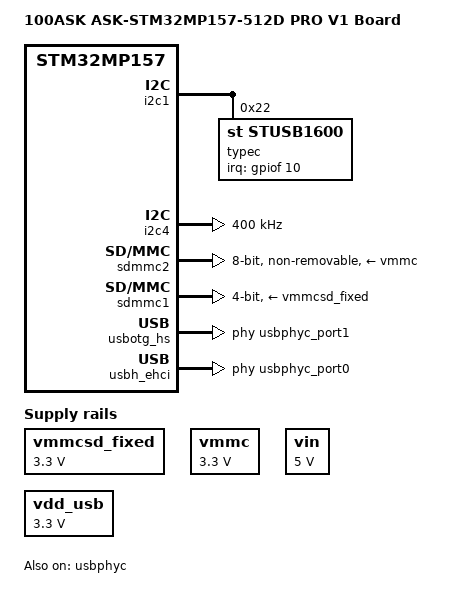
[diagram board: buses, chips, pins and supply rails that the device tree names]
// SPDX-License-Identifier: (GPL-2.0+ OR BSD-3-Clause)
/*
 * Copyright (C) STMicroelectronics 2018 - All Rights Reserved
 * Author: Alexandre Torgue <alexandre.torgue@st.com>.
 */

/dts-v1/;

#include "stm32mp157.dtsi"
#include "stm32mp15xd.dtsi"
#include "stm32mp157-pinctrl.dtsi"
#include "stm32mp15xxac-pinctrl.dtsi"
#include "stm32mp15xx-100ask.dtsi"

/ {
	model = "100ASK ASK-STM32MP157-512D PRO V1 Board";
	compatible = "st,stm32mp157c-100ask-512d-v1", "st,stm32mp157";

	aliases {
		ethernet0 = &ethernet0;
		serial0 = &uart4;
		serial1 = &usart3;
		//serial2 = &uart7;
	};

	chosen {
		stdout-path = "serial0:115200n8";
	};

	reserved-memory {
		gpu_reserved: gpu@da000000 {
			reg = <0xda000000 0x4000000>;
			no-map;
		};

		optee_memory: optee@0xde000000 {
			reg = <0xde000000 0x02000000>;
			no-map;
		};
	};

	wifi_bt_power:wifi_bt_power {
		compatible = "wifibt-rst";
		wifi {
			label = "wifi-rst";
			gpios = <&gpioi 3 GPIO_ACTIVE_HIGH>;
		};
		bt {
			label = "bt-rst";
			gpios = <&gpioa 15 GPIO_ACTIVE_HIGH>;
		};
		phy {
			label = "phy-rest";
			gpios = <&gpiog 0 GPIO_ACTIVE_HIGH>;
		};
	};	
	usb_phy_tuning: usb-phy-tuning {
		st,hs-dc-level = <2>;
		st,fs-rftime-tuning;
		st,hs-rftime-reduction;
		st,hs-current-trim = <15>;
		st,hs-impedance-trim = <1>;
		st,squelch-level = <3>;
		st,hs-rx-offset = <2>;
		st,no-lsfs-sc;
	};

	vmmcsd_fixed: fixedregulator@0 {
		compatible = "regulator-fixed";
		regulator-name = "vmmcsd_fixed";
		regulator-min-microvolt = <3300000>;
        	regulator-max-microvolt = <3300000>;
		
	};

   	vmmc: fixedregulator@1 {
        	compatible = "regulator-fixed";
        	regulator-name = "vmmc";
        	regulator-min-microvolt = <3300000>;
        	regulator-max-microvolt = <3300000>;
        	startup-delay-us = <70000>;
       		 enable-active-high;  
    	};
	vin: vin {
		compatible = "regulator-fixed";
		regulator-name = "vin";
		regulator-min-microvolt = <5000000>;
		regulator-max-microvolt = <5000000>;
		regulator-always-on;
	};

	regulators {
		compatible = "simple-bus";
            	#address-cells = <1>;
            	#size-cells = <0>;

			vddcore: buck1 {
				regulator-name = "vddcore";
				regulator-min-microvolt = <1200000>;
				regulator-max-microvolt = <1350000>;
				regulator-always-on;
				regulator-initial-mode = <0>;
				regulator-over-current-protection;
			};

			vdd_ddr: buck2 {
				regulator-name = "vdd_ddr";
				regulator-min-microvolt = <1350000>;
				regulator-max-microvolt = <1350000>;
				regulator-always-on;
				regulator-initial-mode = <0>;
				regulator-over-current-protection;
			};

			vdd: buck3 {
				regulator-name = "vdd";
				regulator-min-microvolt = <3300000>;
				regulator-max-microvolt = <3300000>;
				regulator-always-on;
				st,mask-reset;
				regulator-initial-mode = <0>;
				regulator-over-current-protection;
			};

			v3v3: buck4 {
				regulator-name = "v3v3";
				regulator-min-microvolt = <3300000>;
				regulator-max-microvolt = <3300000>;
				regulator-always-on;
				regulator-over-current-protection;
				regulator-initial-mode = <0>;
				
			};

			vdda: ldo1 {
				regulator-name = "v1v8_audio";
				regulator-min-microvolt = <1700000>;
				regulator-max-microvolt = <3300000>;
				regulator-always-on;
				//interrupts = <IT_CURLIM_LDO1 0>;

			};

			v1v8_hdmi: ldo2 {
				regulator-name = "v1v8_hdmi";
				regulator-min-microvolt = <1800000>;
				regulator-max-microvolt = <1800000>;
				regulator-always-on;
				//interrupts = <IT_CURLIM_LDO2 0>;

			};

			vtt_ddr: ldo3 {
				regulator-name = "vtt_ddr";
				regulator-min-microvolt = <500000>;
				regulator-max-microvolt = <750000>;
				regulator-always-on;
				regulator-over-current-protection;
			};


			vdd_sd: ldo5 {
				regulator-name = "vdd_sd";
				regulator-min-microvolt = <1700000>;
				regulator-max-microvolt = <3900000>;
				//interrupts = <IT_CURLIM_LDO5 0>;
				regulator-boot-on;
			};

			vref_ddr: vref_ddr {
				regulator-name = "vref_ddr";
				regulator-always-on;
				regulator-over-current-protection;
			};
			vbus_otg: pwr_sw1 {
                                regulator-name = "vbus_otg";
                                interrupts = <IT_OCP_OTG 0>;
                                regulator-active-discharge;
                         };


			 bst_out: boost {
				regulator-name = "bst_out";
				//interrupts = <IT_OCP_BOOST 0>;
			 };
		};

	vdd_usb: fixedregulator@3 {
         	compatible = "regulator-fixed";
         	regulator-name = "vdd_usb";
         	regulator-min-microvolt = <3300000>;
         	regulator-max-microvolt = <3300000>;
   		startup-delay-us = <70000>;
   		regulator-boot-on;
   		regulator-pull-down; 
    	};

};



&i2c1 {
	pinctrl-names = "default", "sleep";
	pinctrl-0 = <&i2c1_pins_a>;
	pinctrl-1 = <&i2c1_pins_sleep_a>;
	i2c-scl-rising-time-ns = <100>;
	i2c-scl-falling-time-ns = <7>;
	status = "okay";
	/delete-property/dmas;
	/delete-property/dma-names;

	typec: stusb1600@22 {
		compatible = "st,stusb1600";
		reg = <0x22>;
		interrupts = <10 IRQ_TYPE_EDGE_FALLING>;
		interrupt-parent = <&gpiof>;
		pinctrl-names = "default";
		pinctrl-0 = <&stusb1600_pins_a>;
	
		status = "okay";
	
		typec_con: connector {
			   compatible = "usb-c-connector";
			   label = "USB-C";
			   power-role = "sink";
			   power-opmode = "default";
		};
	};
};


&i2c4 {
	pinctrl-names = "default", "sleep";
	pinctrl-0 = <&i2c4_pins_a>;
	pinctrl-1 = <&i2c4_pins_sleep_a>;
	i2c-scl-rising-time-ns = <185>;
	i2c-scl-falling-time-ns = <20>;
	clock-frequency = <400000>;
	status = "okay";
	/* spare dmas for other usage */
	/delete-property/dmas;
	/delete-property/dma-names;
/*
	stusb1600@28 {
		compatible = "st,stusb1600";
		reg = <0x28>;
		interrupts = <3 IRQ_TYPE_EDGE_FALLING>;
		interrupt-parent = <&gpiog>;
		pinctrl-names = "default";
		pinctrl-0 = <&stusb1600_pins_a>;
		status = "okay";
		vdd-supply = <&vin>;

		connector {
			compatible = "usb-c-connector";
			label = "USB-C";
			power-role = "dual";
			power-opmode = "default";
	
			port {
				con_usbotg_hs_ep: endpoint {
					remote-endpoint = <&usbotg_hs_ep>;
				};
			};

		};
	};
*/
	pmic: stpmic@33 {
		compatible = "st,stpmic1";
		reg = <0x33>;
		interrupts-extended = <&exti_pwr 55 IRQ_TYPE_EDGE_FALLING>;
		interrupt-controller;
		#interrupt-cells = <2>;
		status = "disable";

		st,main-control-register = <0x04>;
		st,vin-control-register = <0xc0>;
		st,usb-control-register = <0x20>;
	};
};

/*
&pwr_regulators {
	vdd-supply = <&vdd>;
	vdd_3v3_usbfs-supply = <&vdd_usb>;
};
*/
/*emmc*/
&sdmmc2 {
        pinctrl-names = "default", "opendrain", "sleep";
        pinctrl-0 = <&sdmmc2_b4_pins_a &sdmmc2_d47_pins_a>;
        pinctrl-1 = <&sdmmc2_b4_od_pins_a &sdmmc2_d47_pins_a>;
        pinctrl-2 = <&sdmmc2_b4_sleep_pins_a &sdmmc2_d47_sleep_pins_a>;
        non-removable;
        no-sd;
        no-sdio;
        st,dirpol;
        st,negedge; 
        bus-width = <8>;
	vmmc-supply = <&vmmc>;
        vqmmc-supply = <&vmmc>;
        status = "okay";
};

/*SD card*/
&sdmmc1 {
	pinctrl-names = "default", "opendrain", "sleep";
	pinctrl-0 = <&sdmmc1_b4_pins_a>;
	pinctrl-1 = <&sdmmc1_b4_od_pins_a>;
	pinctrl-2 = <&sdmmc1_b4_sleep_pins_a>;
	broken-cd;
	st,neg-edge;
	bus-width = <4>;
	vmmc-supply = <&vmmcsd_fixed>;
	status = "okay";
};


&usbotg_hs {
	phys = <&usbphyc_port1 0>;
	phy-names = "usb2-phy";
	usb-role-switch;
	status = "okay";
#if 0

	port {
		usbotg_hs_ep: endpoint {
			remote-endpoint = <&con_usbotg_hs_ep>;
		};
	};
#endif
};


/*
&usbotg_hs {
        dr_mode = "peripheral";
        phys = <&usbphyc_port1 0>;
        phy-names = "usb2-phy";
        status = "okay";
};
*/

&usbphyc {
	status = "okay";
};


&usbphyc_port1 {
	phy-supply = <&vdd_usb>;
	st,phy-tuning = <&usb_phy_tuning>;
};



&usbh_ehci {
	phys = <&usbphyc_port0>;
	status = "okay";
};


&usbphyc_port0 {
	phy-supply = <&vdd_usb>;
	st,phy-tuning = <&usb_phy_tuning>;
};


